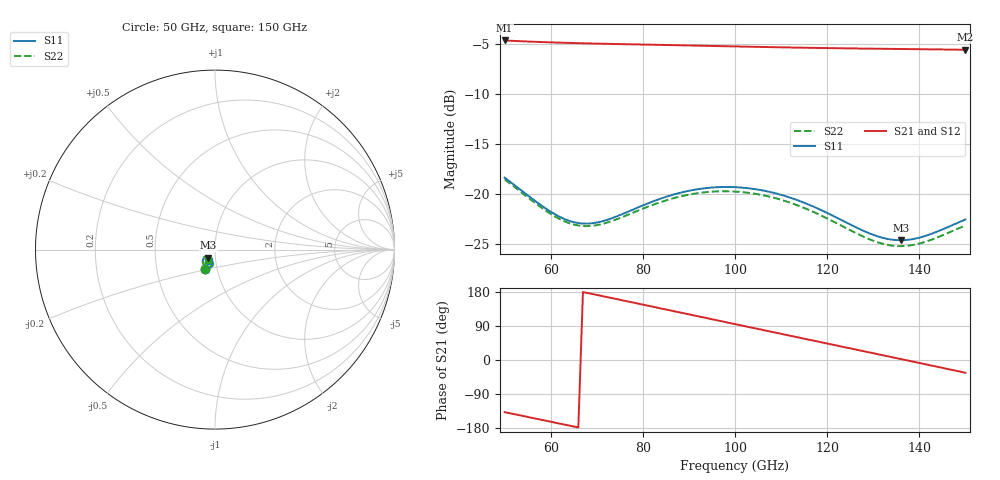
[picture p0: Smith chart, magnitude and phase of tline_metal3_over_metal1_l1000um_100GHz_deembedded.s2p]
! Created with skrf 2.0.1 (http://scikit-rf.org).
# GHz S DB R 50.0
!freq dBS11 angS11 dBS21 angS21 dBS12 angS12 dBS22 angS22
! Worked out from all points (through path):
!   101 points, 50 GHz to 150 GHz, reference 50 ohm
!   highest |S21| = -4.67 dB at 50 GHz (marker M1); lowest = -5.6 dB at 150 GHz (marker M2)
!   group delay of S21, straight-line fit = 7.12 ps
!   lowest |S11| = -24.6 dB at 136 GHz (marker M3), VSWR 1.12, Z = 46.2 - j4.2 ohm
!   |S11| at or under -10 dB: start of sweep to end of sweep
!   |S22| runs from -25.2 to -18.5 dB; largest |S21 - S12| = 6.4e-14
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50  -18.36 -116.3  -4.67 -137.6  -4.67 -137.6  -18.54 -116.7
55  -20.12 -118.8  -4.78 -150.2  -4.78 -150.2  -20.32 -119.4
59  -21.47 -117.5  -4.85 -160.3  -4.85 -160.3  -21.68 -118.2
63  -22.50 -113.0  -4.91 -170.5  -4.91 -170.5  -22.73 -113.9
67  -22.95 -106.6  -4.96 179.4  -4.96 179.4  -23.19 -107.7
71  -22.74 -100.8  -5.00 169.2  -5.00 169.2  -23.01 -102.0
75  -22.11 -97.6  -5.04 159.0  -5.04 159.0  -22.40 -99.0
79  -21.33 -97.2  -5.07 148.7  -5.07 148.7  -21.65 -98.8
84  -20.44 -100.0  -5.12 135.9  -5.12 135.9  -20.78 -101.9
92  -19.51 -109.0  -5.19 115.3  -5.19 115.3  -19.91 -111.2
96  -19.32 -114.4  -5.23 105.0  -5.23 105.0  -19.74 -116.8
100  -19.31 -120.1  -5.27 94.8  -5.27 94.8  -19.76 -122.7
104  -19.49 -125.7  -5.31 84.5  -5.31 84.5  -19.95 -128.5
108  -19.84 -130.9  -5.34 74.2  -5.34 74.2  -20.32 -134.0
112  -20.36 -135.6  -5.38 64.0  -5.38 64.0  -20.87 -138.8
117  -21.25 -140.0  -5.41 51.2  -5.41 51.2  -21.78 -143.5
126  -23.26 -141.4  -5.47 28.1  -5.47 28.1  -23.84 -145.2
130  -24.07 -138.1  -5.50 17.9  -5.50 17.9  -24.66 -142.0
134  -24.55 -132.7  -5.52 7.6  -5.52 7.6  -25.14 -136.8
136  -24.61 -129.6  -5.53 2.5  -5.53 2.5  -25.20 -133.7
143  -23.91 -120.6  -5.56 -15.6  -5.56 -15.6  -24.49 -125.2
150  -22.54 -118.4  -5.60 -33.6  -5.60 -33.6  -23.14 -123.5
